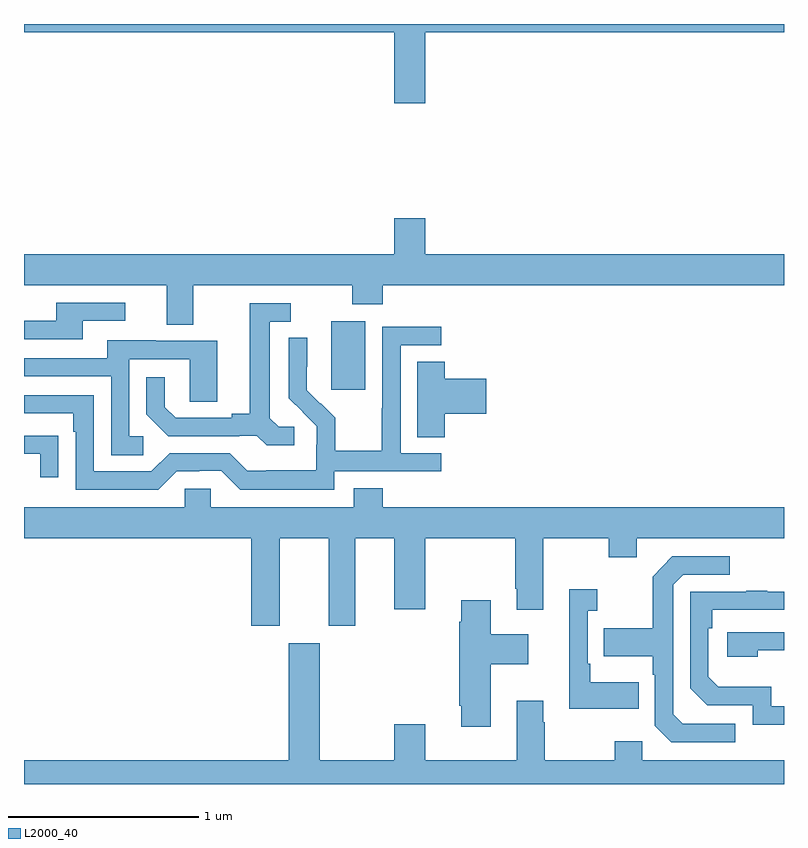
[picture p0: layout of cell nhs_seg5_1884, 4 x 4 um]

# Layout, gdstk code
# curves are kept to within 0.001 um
import gdstk
lib = gdstk.Library(unit=1e-6, precision=1e-09)
def R(c, l, rs):  # rectangles x0, y0, x1, y1
    for r in rs: c.add(gdstk.rectangle(r[:2], r[2:], *l))
def P(c, l, *ps):  # polygons
    for p in ps: c.add(gdstk.Polygon(p, *l))
L2000_40 = (2000, 40)

nhs_seg5_1884 = lib.new_cell('nhs_seg5_1884')
R(nhs_seg5_1884, L2000_40, [(224.618,858.873,224.797,859.234)])
P(nhs_seg5_1884, L2000_40, [(225.112,860.756),(227,860.756),(227,860.799),(223,860.799),(223,860.756),(224.948,860.756),(224.948,860.382),(225.112,860.382)],
  [(223.891,859.424),(224.728,859.424),(224.728,859.325),(224.888,859.325),(224.888,859.424),(227,859.424),(227,859.588),(225.112,859.588),(225.112,859.777),(224.948,859.777),(224.948,859.588),(223,859.588),(223,859.424),(223.751,859.424),(223.751,859.216),(223.891,859.216)],
  [(223.309,859.236),(223.534,859.236),(223.534,859.332),(223.169,859.332),(223.169,859.236),(223,859.236),(223,859.14),(223.309,859.14)],
  [(224.422,858.678),(224.34,858.678),(224.293,858.725),(224.293,859.233),(224.404,859.233),(224.404,859.329),(224.189,859.329),(224.189,858.749),(224.093,858.749),(224.093,858.726),(223.798,858.726),(223.741,858.783),(223.741,858.94),(223.644,858.94),(223.644,858.746),(223.76,858.63),(224.132,858.63),(224.132,858.633),(224.226,858.633),(224.278,858.581),(224.422,858.581)],
  [(224.634,858.444),(225.196,858.444),(225.196,858.54),(224.982,858.54),(224.982,859.107),(225.196,859.107),(225.196,859.206),(224.886,859.206),(224.886,858.776),(224.884,858.776),(224.884,858.553),(224.639,858.553),(224.639,858.727),(224.562,858.804),(224.559,858.801),(224.489,858.872),(224.49,859.148),(224.394,859.148),(224.394,858.83),(224.54,858.682),(224.54,858.585),(224.538,858.585),(224.538,858.451),(224.275,858.451),(224.275,858.447),(224.175,858.447),(224.082,858.54),(223.767,858.54),(223.671,858.444),(223.368,858.444),(223.368,858.846),(223,858.846),(223,858.75),(223.259,858.75),(223.259,858.653),(223.272,858.653),(223.272,858.348),(223.707,858.348),(223.803,858.444),(223.922,858.444),(223.922,858.447),(224.037,858.447),(224.137,858.347),(224.634,858.347)],
  [(223.627,858.63),(223.554,858.63),(223.554,859.035),(223.872,859.035),(223.872,858.811),(224.017,858.811),(224.017,859.131),(223.693,859.131),(223.693,859.135),(223.439,859.135),(223.439,859.041),(223,859.041),(223,858.945),(223.458,858.945),(223.458,858.529),(223.627,858.529)],
  [(225.215,858.749),(225.433,858.749),(225.433,858.932),(225.215,858.932),(225.215,859.022),(225.071,859.022),(225.071,858.625),(225.215,858.625)],
  [(223.181,858.632),(223.079,858.632),(223.079,858.633),(223,858.633),(223,858.537),(223.085,858.537),(223.085,858.414),(223.181,858.414)],
  [(224.347,858.092),(224.603,858.092),(224.603,857.631),(224.743,857.631),(224.743,858.092),(224.948,858.092),(224.948,857.718),(225.112,857.718),(225.112,858.092),(225.586,858.092),(225.586,857.827),(225.593,857.827),(225.593,857.715),(225.733,857.715),(225.733,858.092),(226.078,858.092),(226.078,857.993),(226.225,857.993),(226.225,858.092),(227,858.092),(227,858.256),(224.888,858.256),(224.888,858.355),(224.735,858.355),(224.735,858.256),(223.983,858.256),(223.983,858.354),(223.845,858.354),(223.845,858.256),(223,858.256),(223,858.092),(224.195,858.092),(224.195,857.631),(224.347,857.631)],
  [(226.744,857.115),(226.467,857.115),(226.416,857.166),(226.416,857.847),(226.47,857.901),(226.714,857.901),(226.714,857.997),(226.413,857.997),(226.308,857.891),(226.308,857.619),(226.051,857.619),(226.051,857.471),(226.308,857.471),(226.308,857.375),(226.32,857.375),(226.32,857.106),(226.407,857.019),(226.744,857.019)],
  [(226.235,857.335),(225.979,857.335),(225.979,857.431),(225.966,857.431),(225.966,857.711),(226.018,857.711),(226.018,857.824),(225.869,857.824),(225.869,857.195),(226.235,857.195)],
  [(227,857.208),(226.932,857.208),(226.932,857.311),(226.655,857.311),(226.602,857.364),(226.602,857.618),(226.622,857.618),(226.622,857.715),(227,857.715),(227,857.811),(226.913,857.811),(226.913,857.816),(226.801,857.816),(226.801,857.811),(226.506,857.811),(226.506,857.304),(226.596,857.214),(226.836,857.214),(226.836,857.112),(227,857.112)],
  [(225.457,857.429),(225.655,857.429),(225.655,857.587),(225.457,857.587),(225.457,857.767),(225.302,857.767),(225.302,857.654),(225.29,857.654),(225.29,857.212),(225.302,857.212),(225.302,857.1),(225.457,857.1)],
  [(226.862,857.502),(227,857.502),(227,857.598),(226.701,857.598),(226.701,857.468),(226.862,857.468)],
  [(227,856.924),(226.254,856.924),(226.254,857.023),(226.108,857.023),(226.108,856.924),(225.741,856.924),(225.741,857.123),(225.733,857.123),(225.733,857.236),(225.593,857.236),(225.593,856.924),(225.112,856.924),(225.112,857.113),(224.948,857.113),(224.948,856.924),(224.557,856.924),(224.557,857.539),(224.393,857.539),(224.393,856.924),(223,856.924),(223,856.799),(227,856.799)])

lib.write_gds('nhs_seg5_1884.gds')
